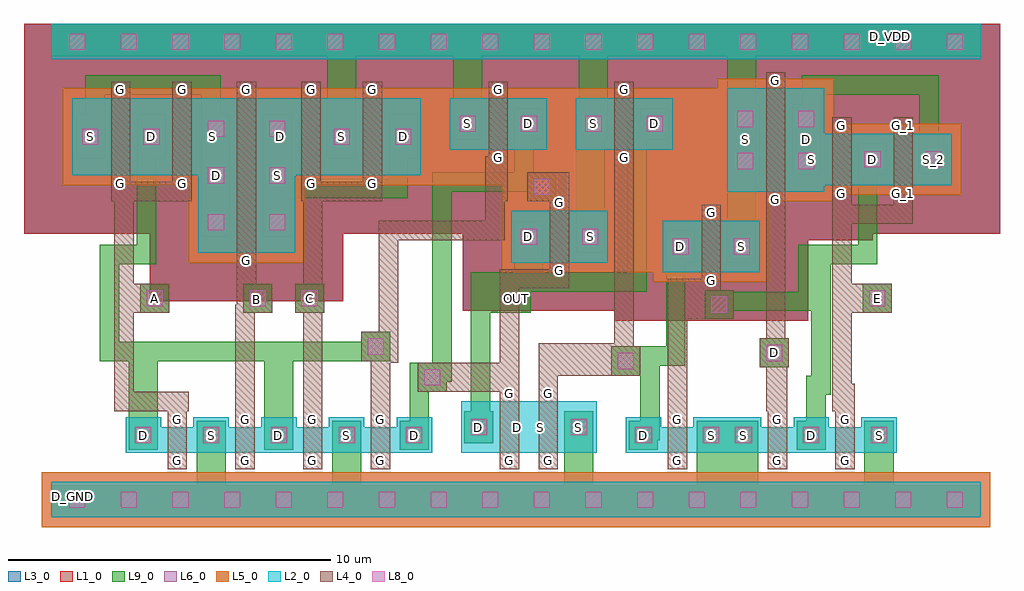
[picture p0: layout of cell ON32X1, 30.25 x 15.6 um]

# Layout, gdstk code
import gdstk
lib = gdstk.Library(unit=1e-6, precision=1e-09)
def R(c, l, rs):  # rectangles x0, y0, x1, y1
    for r in rs: c.add(gdstk.rectangle(r[:2], r[2:], *l))
def A(c, l, x, y, w, h, nx, ny, dx, dy):  # array of equal rectangles
    R(c, l, [(x+i*dx, y+j*dy, x+i*dx+w, y+j*dy+h) for i in range(nx) for j in range(ny)])
def P(c, l, *ps):  # polygons
    for p in ps: c.add(gdstk.Polygon(p, *l))
L1_0 = (1, 0)
L2_0 = (2, 0)
L3_0 = (3, 0)
L4_0 = (4, 0)
L5_0 = (5, 0)
L6_0 = (6, 0)
L8_0 = (8, 0)
L9_0 = (9, 0)

on32x1 = lib.new_cell('ON32X1')
A(on32x1, L1_0, 0, 8.8, 1.6, 6.5, 18, 1, 1.6, 0)
R(on32x1, L1_0, [(17.45,6.1,23.45,10.7), (12.75,6.4,18.75,11), (3.05,6.7,9.05,14.5), (19.45,8.6,25.45,14.8), (-0.85,8.8,0,15.3), (21.5,8.8,29.4,13.4), (-0.85,9.1,5.15,14.5), (1.05,9.1,7.05,14.5), (5.05,9.1,11.05,14.5), (6.95,9.1,12.95,14.5), (10.85,9.9,16.85,14.5), (14.75,9.9,20.75,14.5), (28.8,13.35,29.4,15.3)])
A(on32x1, L2_0, 0, 0, 1.6, 1.1, 18, 2, 1.6, 14.2)
A(on32x1, L2_0, 3.4, 2, 1, 0.8, 4, 1, 2.1, 0)
A(on32x1, L2_0, 23, 10.3, 1.1, 1.6, 3, 1, 1.9, 0)
R(on32x1, L2_0, [(2.3,2,3.4,3.1), (4.4,2,5.5,3.1), (4.4,2,5.5,3.1), (6.5,2,7.6,3.1), (6.5,2,7.6,3.1), (8.6,2,9.7,3.1), (8.6,2,9.7,3.1), (10.7,2,11.8,3.1), (12.7,2,13.8,3.6), (13.8,2,14.6,3.6), (13.9,2,15,3.6), (14.6,2,15.7,3.6), (15,2,15.8,3.6), (15.8,2,16.9,3.6), (17.8,2,18.9,3.1), (18.9,2,19.9,2.8), (19.9,2,21,3.1), (20.9,2,22,3.1), (22,2,23,2.8), (23,2,24.1,3.1), (23,2,24.1,3.1), (24.1,2,25.1,2.8), (25.1,2,26.2,3.1), (18.95,7.6,20.05,9.2), (20.05,7.6,20.85,9.2), (20.85,7.6,21.95,9.2), (14.25,7.9,15.35,9.5), (15.35,7.9,16.15,9.5), (16.15,7.9,17.25,9.5), (4.55,8.2,5.65,13), (5.65,8.2,6.45,13), (6.45,8.2,7.55,13), (20.95,10.1,22.05,13.3), (22.05,10.1,22.85,13.3), (22.85,10.1,23.95,13.3), (24.1,10.3,24.9,11.9), (26,10.3,26.8,11.9), (26.8,10.55,27.9,11.65), (0.65,10.6,1.75,13), (1.75,10.6,2.55,13), (2.55,10.6,3.65,13), (2.55,10.6,3.65,13), (3.65,10.6,4.45,13), (4.45,10.6,5.55,13), (6.55,10.6,7.65,13), (7.65,10.6,8.45,13), (8.45,10.6,9.55,13), (8.45,10.6,9.55,13), (9.55,10.6,10.35,13), (10.35,10.6,11.45,13), (4.45,10.65,5.65,13), (12.35,11.4,13.45,13), (13.45,11.4,14.25,13), (14.25,11.4,15.35,13), (16.25,11.4,17.35,13), (17.35,11.4,18.15,13), (18.15,11.4,19.25,13)])
A(on32x1, L3_0, 0, 8.8, 1.6, 6.5, 18, 1, 1.6, 0)
R(on32x1, L3_0, [(17.45,6.1,23.45,10.7), (12.75,6.4,18.75,11), (3.05,6.7,9.05,14.5), (19.45,8.6,25.45,14.8), (-0.85,8.8,0,15.3), (21.5,8.8,29.4,13.4), (-0.85,9.1,5.15,14.5), (1.05,9.1,7.05,14.5), (5.05,9.1,11.05,14.5), (6.95,9.1,12.95,14.5), (10.85,9.9,16.85,14.5), (14.75,9.9,20.75,14.5), (28.8,13.35,29.4,15.3)])
A(on32x1, L4_0, 3.6, 1.5, 0.6, 0.5, 4, 2, 2.1, 1.3)
A(on32x1, L4_0, 3.6, 1.5, 0.6, 1.8, 4, 1, 2.1, 0)
A(on32x1, L4_0, 3.75, 13, 0.6, 0.5, 3, 1, 2, 0)
A(on32x1, L4_0, 9.65, 13, 0.6, 0.5, 3, 1, 3.9, 0)
R(on32x1, L4_0, [(13.9,1.5,14.5,2), (13.9,1.5,14.5,4.1), (15.1,1.5,15.7,2), (15.1,1.5,15.7,4.1), (19.1,1.5,19.7,2), (19.1,1.5,19.7,3.3), (22.2,1.5,22.8,2), (22.2,1.5,22.8,3.3), (24.3,1.5,24.9,2), (24.3,1.5,24.9,3.3), (19.1,2.8,19.7,3.3), (22.2,2.8,22.8,3.3), (24.3,2.8,24.9,3.3), (5.7,3,6.3,6.6), (7.8,3.3,8.4,9.8), (9.9,3.3,10.5,5.15), (22.15,3.3,22.75,9.6), (22.75,3.3,22.8,4.9), (13.9,3.6,14.5,4.1), (15.1,3.6,15.7,4.1), (11.35,3.9,12.25,4.8), (15.7,4.4,17.35,4.8), (17.35,4.4,18.25,5.3), (21.95,4.65,22.85,5.55), (9.6,4.85,10.5,5.75), (19.7,6.15,20.25,6.9), (20.25,6.15,21.15,7.05), (2.5,6.35,2.75,7.25), (2.75,6.35,3.65,7.25), (5.95,6.35,6.85,7.25), (7.55,6.35,8.45,7.25), (24.7,6.35,25.15,7.25), (25.15,6.35,26.05,7.25), (5.75,6.6,6.35,8), (20.15,7.1,20.75,7.6), (20.15,7.1,20.75,9.7), (15.45,7.4,16.05,7.9), (15.45,7.4,16.05,10), (5.75,7.7,6.35,8.2), (5.75,7.7,6.35,13.5), (1.95,8.1,2.55,9.9), (20.15,9.2,20.75,9.7), (15.45,9.5,16.05,10), (22.15,9.6,22.75,10.1), (22.15,9.6,22.75,13.8), (1.85,9.8,4.35,10.4), (7.75,9.8,10.25,10.4), (14.05,9.8,14.15,10.6), (14.75,9.8,15.65,10.7), (24.2,9.8,24.8,10.3), (24.2,9.8,24.8,12.4), (26.1,9.8,26.7,10.3), (26.1,9.8,26.7,12.4), (15.65,10,16.05,10.7), (1.85,10.1,2.45,13.5), (1.85,10.1,2.45,10.6), (3.75,10.1,4.35,13.5), (3.75,10.1,4.35,10.6), (7.75,10.1,8.35,13.5), (7.75,10.1,8.35,10.6), (9.65,10.1,10.25,13.5), (9.65,10.1,10.25,10.6), (13.55,10.9,14.15,11.4), (13.55,10.9,14.15,13.5), (17.45,10.9,18.05,11.4), (17.45,10.9,18.05,13.5), (24.2,11.9,24.8,12.4), (26.1,11.9,26.7,12.4), (1.85,13,2.45,13.5), (22.15,13.3,22.75,13.8)])
P(on32x1, L4_0, [(15.1,4.1),(15.7,4.1),(15.7,4.8),(18.05,4.8),(18.05,10.9),(17.45,10.9),(17.45,5.4),(15.1,5.4)],
  [(12.25,3.9),(14.5,3.9),(14.5,7.1),(16.05,7.1),(16.05,7.7),(13.9,7.7),(13.9,4.8),(12.25,4.8)],
  [(19.1,3.25),(19.7,3.25),(19.7,6.8),(20.75,6.8),(20.75,7.4),(19.1,7.4)],
  [(10.15,4.8),(10.75,4.8),(10.75,8.6),(14.05,8.6),(14.05,10.6),(14.15,10.6),(14.15,11.2),(13.45,11.2),(13.45,9.2),(10.15,9.2)],
  [(24.2,3.3),(24.9,3.3),(24.9,4.15),(24.8,4.15),(24.8,9.8),(24.2,9.8)],
  [(24.75,9.1),(26.7,9.1),(26.7,9.8),(26.1,9.8),(26.1,9.7),(24.75,9.7)],
  [(1.95,3.3),(4.25,3.3),(4.25,3.9),(2.55,3.9),(2.55,8.7),(1.95,8.7)])
A(on32x1, L5_0, 1.6, -0.3, 1.6, 1.7, 16, 1, 1.6, 0)
R(on32x1, L5_0, [(-0.3,-0.3,1.6,1.4), (27.2,-0.3,29.1,1.4), (18.65,7.3,22.25,9.5), (13.95,7.6,17.55,9.8), (4.25,7.9,7.85,13.3), (20.65,9.8,24.25,13.6), (22.7,10,28.2,12.2), (0.35,10.3,3.95,13.3), (2.25,10.3,5.85,13.3), (6.25,10.3,9.85,13.3), (8.15,10.3,11.75,13.3), (12.05,11.1,15.65,13.3), (15.95,11.1,19.55,13.3)])
P(on32x1, L5_0, [(11.75,10.3),(13.95,10.3),(13.95,9.8),(17.55,9.8),(17.55,11.1),(15.95,11.1),(15.95,13.3),(15.65,13.3),(15.65,11.1),(12.05,11.1),(12.05,13.3),(11.75,13.3)],
  [(17.55,7.6),(18.65,7.6),(18.65,9.5),(22.25,9.5),(22.25,9.8),(20.65,9.8),(20.65,13.3),(19.55,13.3),(19.55,11.1),(17.55,11.1)])
A(on32x1, L6_0, 1.6, -0.3, 1.6, 1.7, 16, 1, 1.6, 0)
R(on32x1, L6_0, [(-0.3,-0.3,1.6,1.4), (27.2,-0.3,29.1,1.4), (18.65,7.3,22.25,9.5), (13.95,7.6,17.55,9.8), (4.25,7.9,7.85,13.3), (20.65,9.8,24.25,13.6), (22.7,10,28.2,12.2), (0.35,10.3,3.95,13.3), (2.25,10.3,5.85,13.3), (6.25,10.3,9.85,13.3), (8.15,10.3,11.75,13.3), (12.05,11.1,15.65,13.3), (15.95,11.1,19.55,13.3)])
P(on32x1, L6_0, [(11.75,10.3),(13.95,10.3),(13.95,9.8),(17.55,9.8),(17.55,11.1),(15.95,11.1),(15.95,13.3),(15.65,13.3),(15.65,11.1),(12.05,11.1),(12.05,13.3),(11.75,13.3)],
  [(17.55,7.6),(18.65,7.6),(18.65,9.5),(22.25,9.5),(22.25,9.8),(20.65,9.8),(20.65,13.3),(19.55,13.3),(19.55,11.1),(17.55,11.1)])
A(on32x1, L8_0, 0.55, 0.3, 0.5, 0.5, 18, 2, 1.6, 14.2)
A(on32x1, L8_0, 4.85, 8.9, 0.5, 0.5, 1, 3, 0, 1.45)
A(on32x1, L8_0, 6.75, 8.9, 0.5, 0.5, 1, 3, 0, 1.45)
R(on32x1, L8_0, [(2.6,2.3,3.1,2.8), (4.7,2.3,5.2,2.8), (4.7,2.3,5.2,2.8), (6.8,2.3,7.3,2.8), (6.8,2.3,7.3,2.8), (8.9,2.3,9.4,2.8), (8.9,2.3,9.4,2.8), (11,2.3,11.5,2.8), (18.1,2.3,18.6,2.8), (20.2,2.3,20.7,2.8), (21.2,2.3,21.7,2.8), (23.3,2.3,23.8,2.8), (23.3,2.3,23.8,2.8), (25.4,2.3,25.9,2.8), (13,2.55,13.5,3.05), (16.1,2.55,16.6,3.05), (11.55,4.1,12.05,4.6), (17.55,4.6,18.05,5.1), (22.15,4.85,22.65,5.35), (9.8,5.05,10.3,5.55), (20.45,6.35,20.95,6.85), (2.95,6.55,3.45,7.05), (6.15,6.55,6.65,7.05), (7.75,6.55,8.25,7.05), (25.35,6.55,25.85,7.05), (19.25,8.15,19.75,8.65), (21.15,8.15,21.65,8.65), (14.55,8.45,15.05,8.95), (16.45,8.45,16.95,8.95), (14.95,10,15.45,10.5), (21.25,10.8,21.75,11.3), (23.15,10.8,23.65,11.3), (25.2,10.85,25.7,11.35), (27.1,10.85,27.6,11.35), (0.95,11.55,1.45,12.05), (2.85,11.55,3.35,12.05), (2.85,11.55,3.35,12.05), (8.75,11.55,9.25,12.05), (8.75,11.55,9.25,12.05), (10.65,11.55,11.15,12.05), (12.65,11.95,13.15,12.45), (14.55,11.95,15.05,12.45), (16.55,11.95,17.05,12.45), (18.45,11.95,18.95,12.45), (21.25,12.1,21.75,12.6), (23.15,12.1,23.65,12.6)])
A(on32x1, L9_0, 0, 0, 1.6, 1, 18, 2, 1.6, 14.3)
R(on32x1, L9_0, [(0,0,27.2,0.9), (4.5,0.1,5.4,3), (8.7,0.1,9.6,3), (15.9,0.1,16.8,3.2), (25.2,0.1,26.1,3), (20,1,21.9,2.1), (2.4,2.1,3.3,3), (2.4,2.1,3.3,4.85), (4.5,2.1,5.4,3), (4.5,2.1,5.4,3), (6.6,2.1,7.5,3), (6.6,2.1,7.5,3), (8.7,2.1,9.6,3), (8.7,2.1,9.6,3), (10.8,2.1,11.7,3), (17.9,2.1,18.8,3), (20,2.1,20.9,3), (20.9,2.1,21,3), (21,2.1,21.9,3), (23.1,2.1,24,3), (23.1,2.1,24,3), (25.2,2.1,26.1,3), (12.8,2.3,13.7,3.3), (15.9,2.3,16.8,3.3), (13,2.7,13.6,7.25), (6.6,3,7.5,5.45), (11.35,3.9,12.25,4.8), (17.35,4.4,18.25,5.3), (11.1,4.5,11.4,4.8), (21.95,4.65,22.85,5.55), (21.95,4.65,22.85,5.55), (2.4,4.85,3.3,5.45), (2.7,4.85,7.2,5.45), (6.9,4.85,10.2,5.45), (9.6,4.85,10.5,5.75), (20.25,6.15,21.15,7.05), (2.75,6.35,3.65,7.25), (2.75,6.35,3.65,7.25), (5.95,6.35,6.85,7.25), (5.95,6.35,6.85,7.25), (7.55,6.35,8.45,7.25), (7.55,6.35,8.45,7.25), (13.6,6.35,13.95,7.05), (13.95,6.35,14.85,7.25), (25.15,6.35,26.05,7.25), (25.15,6.35,26.05,7.25), (20.55,6.4,23.75,7), (13,7,14.7,7.6), (23.75,7,24.15,7.85), (14.35,7.6,14.7,8.2), (19.05,7.9,19.95,8.9), (20.95,7.9,21.85,8.9), (14.35,8.2,15.25,9.2), (16.25,8.2,17.15,9.2), (16.25,8.3,17.15,12.6), (4.65,8.7,5.55,12.5), (6.55,8.7,7.45,12.5), (20.95,8.9,21.85,12.8), (14.75,9.8,15.65,10.7), (21.05,10.6,21.95,12.8), (22.95,10.6,23.85,12.8), (25,10.6,25.9,11.6), (26.9,10.65,27.8,11.55), (0.75,11.1,1.65,12.5), (2.65,11.1,3.55,12.5), (2.65,11.1,3.55,12.5), (8.55,11.1,9.45,12.5), (8.55,11.1,9.45,12.5), (10.45,11.1,11.35,12.5), (8.55,11.6,9.45,15.2), (12.45,11.7,13.35,12.7), (14.35,11.7,15.25,12.7), (16.35,11.7,17.25,12.7), (18.25,11.7,19.15,12.7), (12.45,11.8,13.35,15.2), (16.35,11.8,17.25,15.2), (20.95,11.9,21.85,15.2), (0,14.3,27.2,15.3)])
P(on32x1, L9_0, [(14.65,7),(18.45,7),(18.45,11.7),(18.75,11.7),(18.75,12.3),(17.85,12.3),(17.85,7.6),(15.25,7.6),(15.25,8.8),(14.65,8.8)],
  [(14.35,10.1),(15.35,10.1),(15.35,10.7),(14.95,10.7),(14.95,12.3),(14.35,12.3)],
  [(18.25,2.4),(18.85,2.4),(18.85,4.7),(19.65,4.7),(19.65,8.5),(19.05,8.5),(19.05,5.3),(18.25,5.3)],
  [(11.65,4.2),(12.4,4.2),(12.4,10.1),(14.95,10.1),(14.95,10.7),(11.8,10.7),(11.8,4.8),(11.65,4.8)],
  [(23.25,12.2),(23.85,12.2),(23.85,13.1),(26.9,13.1),(26.9,10.95),(27.5,10.95),(27.5,13.7),(23.25,13.7)],
  [(1.05,11.9),(1.65,11.9),(1.65,13.1),(4.65,13.1),(4.65,11.9),(5.25,11.9),(5.25,13.7),(1.05,13.7)],
  [(11.1,2.4),(11.7,2.4),(11.7,3.9),(11.95,3.9),(11.95,4.5),(11.1,4.5)],
  [(6.85,9.9),(11.05,9.9),(11.05,11.7),(10.45,11.7),(10.45,10.5),(6.85,10.5)],
  [(23.15,6.4),(23.75,6.4),(23.75,7.85),(25.6,7.85),(25.6,11.2),(25,11.2),(25,8.45),(23.15,8.45)],
  [(23.15,6.4),(23.55,6.4),(23.55,4.4),(23.4,4.4),(23.4,2.4),(24,2.4),(24,3.8),(24.15,3.8),(24.15,7),(23.15,7)],
  [(1.5,4.85),(3,4.85),(3,5.45),(2.1,5.45),(2.1,7.85),(3.25,7.85),(3.25,11.7),(2.65,11.7),(2.65,8.45),(1.5,8.45)])
on32x1.add(gdstk.Label('G', (9.95,10.352), layer=4, texttype=0))
on32x1.add(gdstk.Label('G', (9.95,13.252), layer=4, texttype=0))
on32x1.add(gdstk.Label('S', (8.999,11.801), layer=9, texttype=0))
on32x1.add(gdstk.Label('D', (10.899,11.801), layer=9, texttype=0))
on32x1.add(gdstk.Label('G', (8.05,10.352), layer=4, texttype=0))
on32x1.add(gdstk.Label('G', (8.05,13.252), layer=4, texttype=0))
on32x1.add(gdstk.Label('S', (9.001,11.801), layer=9, texttype=0))
on32x1.add(gdstk.Label('D', (7.101,11.801), layer=2, texttype=0))
on32x1.add(gdstk.Label('G', (6.05,7.952), layer=4, texttype=0))
on32x1.add(gdstk.Label('G', (6.05,13.252), layer=4, texttype=0))
on32x1.add(gdstk.Label('S', (7.001,10.601), layer=9, texttype=0))
on32x1.add(gdstk.Label('D', (5.101,10.601), layer=9, texttype=0))
on32x1.add(gdstk.Label('G', (4.05,10.352), layer=4, texttype=0))
on32x1.add(gdstk.Label('G', (4.05,13.252), layer=4, texttype=0))
on32x1.add(gdstk.Label('S', (5.001,11.801), layer=2, texttype=0))
on32x1.add(gdstk.Label('D', (3.101,11.801), layer=9, texttype=0))
on32x1.add(gdstk.Label('G', (2.15,10.352), layer=4, texttype=0))
on32x1.add(gdstk.Label('G', (2.15,13.252), layer=4, texttype=0))
on32x1.add(gdstk.Label('S', (1.199,11.801), layer=9, texttype=0))
on32x1.add(gdstk.Label('D', (3.099,11.801), layer=9, texttype=0))
on32x1.add(gdstk.Label('G', (13.85,11.152), layer=4, texttype=0))
on32x1.add(gdstk.Label('G', (13.85,13.252), layer=4, texttype=0))
on32x1.add(gdstk.Label('S', (12.899,12.201), layer=9, texttype=0))
on32x1.add(gdstk.Label('D', (14.799,12.201), layer=9, texttype=0))
on32x1.add(gdstk.Label('G', (3.9,1.752), layer=4, texttype=0))
on32x1.add(gdstk.Label('G', (3.9,3.052), layer=4, texttype=0))
on32x1.add(gdstk.Label('S', (4.951,2.551), layer=9, texttype=0))
on32x1.add(gdstk.Label('D', (2.851,2.551), layer=9, texttype=0))
on32x1.add(gdstk.Label('G', (6,1.752), layer=4, texttype=0))
on32x1.add(gdstk.Label('G', (6,3.052), layer=4, texttype=0))
on32x1.add(gdstk.Label('S', (4.949,2.551), layer=9, texttype=0))
on32x1.add(gdstk.Label('D', (7.049,2.551), layer=9, texttype=0))
on32x1.add(gdstk.Label('G', (8.1,1.752), layer=4, texttype=0))
on32x1.add(gdstk.Label('G', (8.1,3.052), layer=4, texttype=0))
on32x1.add(gdstk.Label('S', (9.151,2.551), layer=9, texttype=0))
on32x1.add(gdstk.Label('D', (7.051,2.551), layer=9, texttype=0))
on32x1.add(gdstk.Label('G', (10.2,1.752), layer=4, texttype=0))
on32x1.add(gdstk.Label('G', (10.2,3.052), layer=4, texttype=0))
on32x1.add(gdstk.Label('S', (9.149,2.551), layer=9, texttype=0))
on32x1.add(gdstk.Label('D', (11.249,2.551), layer=9, texttype=0))
on32x1.add(gdstk.Label('G', (15.75,9.748), layer=4, texttype=0))
on32x1.add(gdstk.Label('G', (15.75,7.648), layer=4, texttype=0))
on32x1.add(gdstk.Label('S', (16.701,8.699), layer=9, texttype=0))
on32x1.add(gdstk.Label('D', (14.801,8.699), layer=9, texttype=0))
on32x1.add(gdstk.Label('G', (17.75,11.152), layer=4, texttype=0))
on32x1.add(gdstk.Label('G', (17.75,13.252), layer=4, texttype=0))
on32x1.add(gdstk.Label('S', (16.799,12.201), layer=9, texttype=0))
on32x1.add(gdstk.Label('D', (18.699,12.201), layer=9, texttype=0))
on32x1.add(gdstk.Label('G', (22.45,9.852), layer=4, texttype=0))
on32x1.add(gdstk.Label('G', (22.45,13.552), layer=4, texttype=0))
on32x1.add(gdstk.Label('S', (21.499,11.701), layer=9, texttype=0))
on32x1.add(gdstk.Label('D', (23.399,11.701), layer=9, texttype=0))
on32x1.add(gdstk.Label('G', (14.2,1.752), layer=4, texttype=0))
on32x1.add(gdstk.Label('G', (14.2,3.852), layer=4, texttype=0))
on32x1.add(gdstk.Label('S', (15.151,2.801), layer=2, texttype=0))
on32x1.add(gdstk.Label('D', (13.251,2.801), layer=9, texttype=0))
on32x1.add(gdstk.Label('S_2', (27.349,11.1), layer=2, texttype=0))
on32x1.add(gdstk.Label('D', (25.449,11.101), layer=9, texttype=0))
on32x1.add(gdstk.Label('S', (23.549,11.101), layer=2, texttype=0))
on32x1.add(gdstk.Label('G_1', (26.4,12.152), layer=4, texttype=0))
on32x1.add(gdstk.Label('G_1', (26.4,10.052), layer=4, texttype=0))
on32x1.add(gdstk.Label('G', (24.5,12.152), layer=4, texttype=0))
on32x1.add(gdstk.Label('G', (24.5,10.052), layer=4, texttype=0))
on32x1.add(gdstk.Label('G', (20.45,7.352), layer=4, texttype=0))
on32x1.add(gdstk.Label('G', (20.45,9.452), layer=4, texttype=0))
on32x1.add(gdstk.Label('S', (21.401,8.401), layer=9, texttype=0))
on32x1.add(gdstk.Label('D', (19.501,8.401), layer=9, texttype=0))
on32x1.add(gdstk.Label('D', (14.451,2.801), layer=2, texttype=0))
on32x1.add(gdstk.Label('G', (15.4,1.752), layer=4, texttype=0))
on32x1.add(gdstk.Label('G', (15.4,3.852), layer=4, texttype=0))
on32x1.add(gdstk.Label('S', (16.351,2.801), layer=9, texttype=0))
on32x1.add(gdstk.Label('G', (19.4,1.752), layer=4, texttype=0))
on32x1.add(gdstk.Label('G', (19.4,3.052), layer=4, texttype=0))
on32x1.add(gdstk.Label('S', (20.451,2.551), layer=9, texttype=0))
on32x1.add(gdstk.Label('D', (18.351,2.551), layer=9, texttype=0))
on32x1.add(gdstk.Label('G', (24.6,1.752), layer=4, texttype=0))
on32x1.add(gdstk.Label('G', (24.6,3.052), layer=4, texttype=0))
on32x1.add(gdstk.Label('S', (25.651,2.551), layer=9, texttype=0))
on32x1.add(gdstk.Label('D', (23.551,2.551), layer=9, texttype=0))
on32x1.add(gdstk.Label('G', (22.5,1.752), layer=4, texttype=0))
on32x1.add(gdstk.Label('G', (22.5,3.052), layer=4, texttype=0))
on32x1.add(gdstk.Label('S', (21.449,2.551), layer=9, texttype=0))
on32x1.add(gdstk.Label('D', (23.549,2.551), layer=9, texttype=0))
on32x1.add(gdstk.Label('C', (8,6.8), layer=50, texttype=0))
on32x1.add(gdstk.Label('OUT', (14.4,6.8), layer=50, texttype=0))
on32x1.add(gdstk.Label('D', (22.4,5.1), layer=50, texttype=0))
on32x1.add(gdstk.Label('D_GND', (0.65,0.65), layer=50, texttype=0))
on32x1.add(gdstk.Label('E', (25.6,6.8), layer=50, texttype=0))
on32x1.add(gdstk.Label('D_VDD', (26,14.9), layer=50, texttype=0))
on32x1.add(gdstk.Label('B', (6.35,6.75), layer=50, texttype=0))
on32x1.add(gdstk.Label('A', (3.2,6.8), layer=50, texttype=0))

lib.write_gds('ON32X1.gds')
